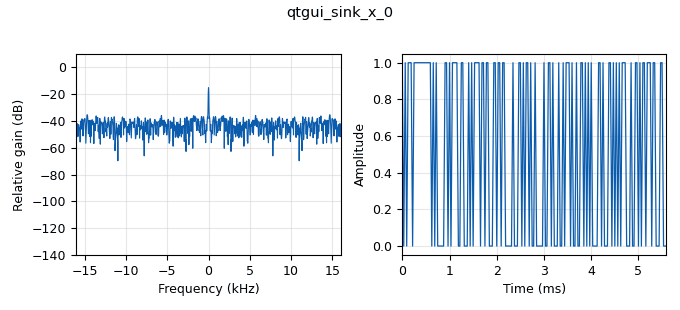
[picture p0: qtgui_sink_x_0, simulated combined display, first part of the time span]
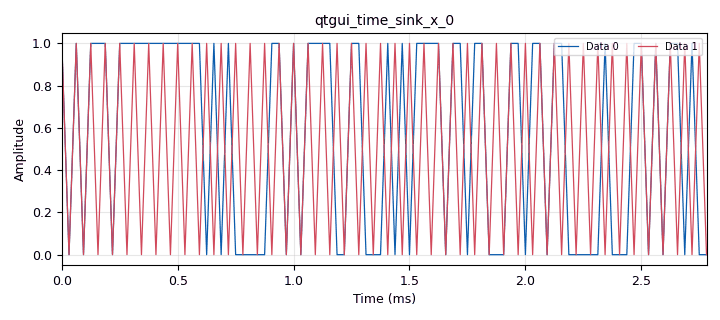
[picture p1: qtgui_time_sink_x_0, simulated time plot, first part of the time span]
<?xml version='1.0' encoding='utf-8'?>
<?grc format='1' created='3.7.13'?>
<flow_graph>
<block>
<key>options</key>
<param><key>id</key><value>top_block</value></param>
<param><key>generate_options</key><value>qt_gui</value></param>
</block>
<block>
<key>variable</key>
<param><key>id</key><value>samp_rate</value></param>
<param><key>value</key><value>32000</value></param>
</block>
<block>
<key>blocks_stream_to_vector</key>
<param><key>id</key><value>blocks_stream_to_vector_0</value></param>
<param><key>type</key><value>byte</value></param>
<param><key>num_items</key><value>1</value></param>
</block>
<block>
<key>blocks_throttle</key>
<param><key>id</key><value>blocks_throttle_0</value></param>
<param><key>samples_per_second</key><value>samp_rate</value></param>
<param><key>type</key><value>byte</value></param>
</block>
<block>
<key>blocks_uchar_to_float</key>
<param><key>id</key><value>blocks_uchar_to_float_0</value></param>
</block>
<block>
<key>blocks_uchar_to_float</key>
<param><key>id</key><value>blocks_uchar_to_float_1</value></param>
</block>
<block>
<key>blocks_vector_sink_x</key>
<param><key>id</key><value>blocks_vector_sink_x_0</value></param>
<param><key>type</key><value>byte</value></param>
</block>
<block>
<key>blocks_vector_source_x</key>
<param><key>id</key><value>blocks_vector_source_x_0</value></param>
<param><key>type</key><value>byte</value></param>
<param><key>repeat</key><value>True</value></param>
<param><key>vector</key><value>(1, 0)</value></param>
</block>
<block>
<key>digital_scrambler_bb</key>
<param><key>id</key><value>digital_scrambler_bb_0</value></param>
<param><key>len</key><value>11</value></param>
<param><key>mask</key><value>0x8A</value></param>
<param><key>seed</key><value>0x5A8</value></param>
</block>
<block>
<key>qtgui_freq_sink_x</key>
<param><key>id</key><value>qtgui_freq_sink_x_0</value></param>
<param><key>bw</key><value>samp_rate</value></param>
<param><key>fc</key><value>0</value></param>
<param><key>fftsize</key><value>1024</value></param>
<param><key>showports</key><value>True</value></param>
<param><key>type</key><value>complex</value></param>
<param><key>wintype</key><value>firdes.WIN_BLACKMAN_hARRIS</value></param>
</block>
<block>
<key>qtgui_sink_x</key>
<param><key>id</key><value>qtgui_sink_x_0</value></param>
<param><key>bw</key><value>samp_rate</value></param>
<param><key>fc</key><value>0</value></param>
<param><key>freqchangevar</key><value>None</value></param>
<param><key>fftsize</key><value>1024</value></param>
<param><key>showports</key><value>True</value></param>
<param><key>type</key><value>float</value></param>
<param><key>wintype</key><value>firdes.WIN_BLACKMAN_hARRIS</value></param>
</block>
<block>
<key>qtgui_time_sink_x</key>
<param><key>id</key><value>qtgui_time_sink_x_0</value></param>
<param><key>autoscale</key><value>True</value></param>
<param><key>color1</key><value>"blue"</value></param>
<param><key>label1</key><value></value></param>
<param><key>color2</key><value>"red"</value></param>
<param><key>label2</key><value></value></param>
<param><key>nconnections</key><value>2</value></param>
<param><key>size</key><value>1024</value></param>
<param><key>srate</key><value>samp_rate</value></param>
<param><key>type</key><value>float</value></param>
<param><key>update_time</key><value>1</value></param>
</block>
<connection><source_block_id>blocks_stream_to_vector_0</source_block_id><sink_block_id>blocks_vector_sink_x_0</sink_block_id><source_key>0</source_key><sink_key>0</sink_key></connection>
<connection><source_block_id>blocks_throttle_0</source_block_id><sink_block_id>digital_scrambler_bb_0</sink_block_id><source_key>0</source_key><sink_key>0</sink_key></connection>
<connection><source_block_id>blocks_uchar_to_float_0</source_block_id><sink_block_id>qtgui_sink_x_0</sink_block_id><source_key>0</source_key><sink_key>0</sink_key></connection>
<connection><source_block_id>blocks_uchar_to_float_0</source_block_id><sink_block_id>qtgui_time_sink_x_0</sink_block_id><source_key>0</source_key><sink_key>0</sink_key></connection>
<connection><source_block_id>blocks_uchar_to_float_1</source_block_id><sink_block_id>qtgui_time_sink_x_0</sink_block_id><source_key>0</source_key><sink_key>1</sink_key></connection>
<connection><source_block_id>blocks_vector_source_x_0</source_block_id><sink_block_id>blocks_throttle_0</sink_block_id><source_key>0</source_key><sink_key>0</sink_key></connection>
<connection><source_block_id>blocks_vector_source_x_0</source_block_id><sink_block_id>blocks_uchar_to_float_1</sink_block_id><source_key>0</source_key><sink_key>0</sink_key></connection>
<connection><source_block_id>digital_scrambler_bb_0</source_block_id><sink_block_id>blocks_stream_to_vector_0</sink_block_id><source_key>0</source_key><sink_key>0</sink_key></connection>
<connection><source_block_id>digital_scrambler_bb_0</source_block_id><sink_block_id>blocks_uchar_to_float_0</sink_block_id><source_key>0</source_key><sink_key>0</sink_key></connection>
</flow_graph>
